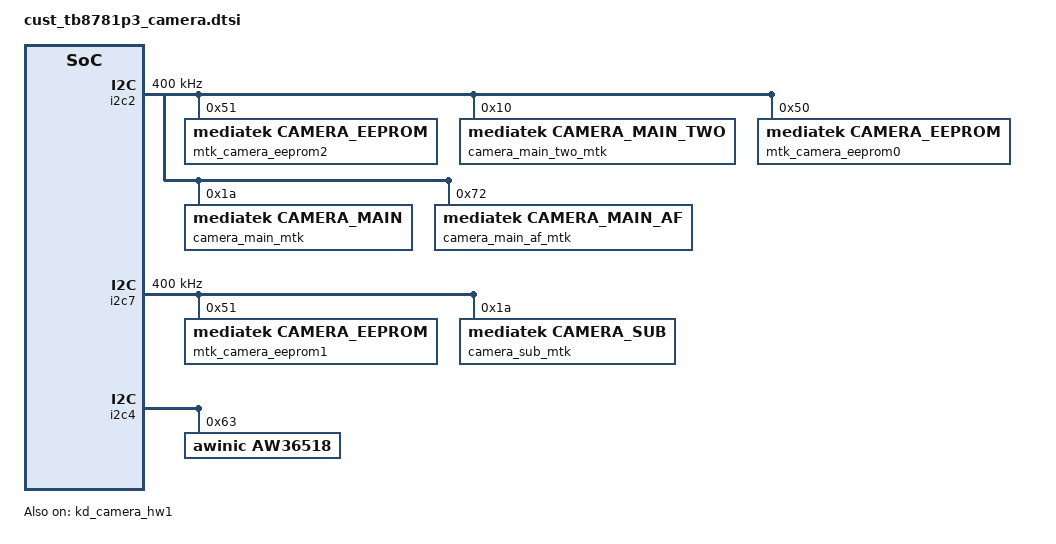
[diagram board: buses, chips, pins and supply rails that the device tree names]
// SPDX-License-Identifier: GPL-2.0
/* Copyright (c) 2022 MediaTek Inc. */
/* CAMERA GPIO standardization */
&pio {
	camera_pins_cam0_rst_0: cam0@0 {
		pins_cmd_dat {
			pinmux = <PINMUX_GPIO20__FUNC_GPIO20>;
			slew-rate = <1>;
			output-low;
		};
	};
	camera_pins_cam0_rst_1: cam0@1 {
		pins_cmd_dat {
			pinmux = <PINMUX_GPIO20__FUNC_GPIO20>;
			slew-rate = <1>;
			output-high;
		};
	};
	camera_pins_cam1_rst_0: cam1@0 {
		pins_cmd_dat {
			pinmux = <PINMUX_GPIO16__FUNC_GPIO16>;
			slew-rate = <1>;
			output-low;
		};
	};
	camera_pins_cam1_rst_1: cam1@1 {
		pins_cmd_dat {
			pinmux = <PINMUX_GPIO16__FUNC_GPIO16>;
			slew-rate = <1>;
			output-high;
		};
	};

	camera_pins_cam0_mclk_off: camera_pins_cam0_mclk_off {
		pins_cmd_dat {
			pinmux = <PINMUX_GPIO128__FUNC_GPIO128>;
			drive-strength = <1>;
		};
	};
	camera_pins_cam0_mclk_2ma: camera_pins_cam0_mclk_2ma {
		pins_cmd_dat {
			pinmux = <PINMUX_GPIO128__FUNC_CMMCLK2>;
			drive-strength = <0>;
		};
	};
	camera_pins_cam0_mclk_4ma: camera_pins_cam0_mclk_4ma {
		pins_cmd_dat {
			pinmux = <PINMUX_GPIO128__FUNC_CMMCLK2>;
			drive-strength = <1>;
		};
	};
	camera_pins_cam0_mclk_6ma: camera_pins_cam0_mclk_6ma {
		pins_cmd_dat {
			pinmux = <PINMUX_GPIO128__FUNC_CMMCLK2>;
			drive-strength = <2>;
		};
	};
	camera_pins_cam0_mclk_8ma: camera_pins_cam0_mclk_8ma {
		pins_cmd_dat {
			pinmux = <PINMUX_GPIO128__FUNC_CMMCLK2>;
			drive-strength = <3>;
		};
	};
	camera_pins_cam1_mclk_off: camera_pins_cam1_mclk_off {
		pins_cmd_dat {
			pinmux = <PINMUX_GPIO126__FUNC_GPIO126>;
			drive-strength = <1>;
		};
	};
	camera_pins_cam1_mclk_2ma: camera_pins_cam1_mclk_2ma {
		pins_cmd_dat {
			pinmux = <PINMUX_GPIO126__FUNC_CMMCLK0>;
			drive-strength = <0>;
		};
	};
	camera_pins_cam1_mclk_4ma: camera_pins_cam1_mclk_4ma {
		pins_cmd_dat {
			pinmux = <PINMUX_GPIO126__FUNC_CMMCLK0>;
			drive-strength = <1>;
		};
	};
	camera_pins_cam1_mclk_6ma: camera_pins_cam1_mclk_6ma {
		pins_cmd_dat {
			pinmux = <PINMUX_GPIO126__FUNC_CMMCLK0>;
			drive-strength = <2>;
		};
	};
	camera_pins_cam1_mclk_8ma: camera_pins_cam1_mclk_8ma {
		pins_cmd_dat {
			pinmux = <PINMUX_GPIO126__FUNC_CMMCLK0>;
			drive-strength = <3>;
		};
	};
	camera_pins_default: camdefault {
	};
};
&kd_camera_hw1 {
	pinctrl-names = "default",
			"cam0_rst0", "cam0_rst1",
			"cam1_rst0", "cam1_rst1",
			"cam0_mclk_off",
			"cam0_mclk_2mA", "cam0_mclk_4mA",
			"cam0_mclk_6mA", "cam0_mclk_8mA",
			"cam1_mclk_off",
			"cam1_mclk_2mA", "cam1_mclk_4mA",
			"cam1_mclk_6mA", "cam1_mclk_8mA";

	pinctrl-0 = <&camera_pins_default>;
	pinctrl-1 = <&camera_pins_cam0_rst_0>;
	pinctrl-2 = <&camera_pins_cam0_rst_1>;
	pinctrl-3 = <&camera_pins_cam1_rst_0>;
	pinctrl-4 = <&camera_pins_cam1_rst_1>;
	pinctrl-5 = <&camera_pins_cam0_mclk_off>;
	pinctrl-6 = <&camera_pins_cam0_mclk_2ma>;
	pinctrl-7 = <&camera_pins_cam0_mclk_4ma>;
	pinctrl-8 = <&camera_pins_cam0_mclk_6ma>;
	pinctrl-9 = <&camera_pins_cam0_mclk_8ma>;
	pinctrl-10 = <&camera_pins_cam1_mclk_off>;
	pinctrl-11 = <&camera_pins_cam1_mclk_2ma>;
	pinctrl-12 = <&camera_pins_cam1_mclk_4ma>;
	pinctrl-13 = <&camera_pins_cam1_mclk_6ma>;
	pinctrl-14 = <&camera_pins_cam1_mclk_8ma>;

	/* main (wide)*/
	cam0_vcamd-supply = <&fan53870_ldo1>;
	cam0_vcamaf-supply = <&fan53870_ldo3>;
	cam0_vcamio-supply = <&fan53870_ldo5>;
	cam0_vcama-supply = <&fan53870_ldo6>;

	/* front*/
	cam1_vcamd-supply = <&fan53870_ldo2>;
	cam1_vcama-supply = <&fan53870_ldo4>;
	cam1_vcamio-supply = <&fan53870_ldo5>;


	cam0_pin_mclk = "mclk";
	cam0_pin_rst = "gpio";
	cam0_pin_vcama = "regulator";
	cam0_pin_vcamio = "regulator";
	cam0_pin_vcamd = "regulator";
	cam0_pin_vcamaf = "regulator";
	cam1_pin_mclk = "mclk";
	cam1_pin_rst = "gpio";
	cam1_pin_vcama = "regulator";
	cam1_pin_vcamio = "regulator";
	cam1_pin_vcamd = "regulator";
	cam0_enable_sensor = "ov13b10main_mipi_raw";
	cam1_enable_sensor = "sc800cs_mipi_raw";
	status = "okay";
	mtk_custom_project = "tb8781p2_64";
};
/* CAMERA GPIO end */

/* CAMERA EEPROM */
&i2c2 {
	status = "okay";
	clock-frequency = <400000>;
	#address-cells = <1>;
	#size-cells = <0>;

	mtk_camera_eeprom2:camera_eeprom2@51 {
		compatible = "mediatek,camera_eeprom";
		reg = <0x51>;
		status = "okay";
	};
	camera_main_two_mtk:camera_main_two@10 {
		compatible = "mediatek,camera_main_two";
		#thermal-sensor-cells = <0>;
		reg = <0x10>;
		status = "okay";
	};
};
&i2c2 {
	status = "okay";
	clock-frequency = <400000>;
	#address-cells = <1>;
	#size-cells = <0>;

	mtk_camera_eeprom0:camera_eeprom0@50 {
		compatible = "mediatek,camera_eeprom";
		reg = <0x50>;
		status = "okay";
	};
	camera_main_mtk:camera_main@1a {
		compatible = "mediatek,camera_main";
		#thermal-sensor-cells = <0>;
		reg = <0x1a>;
		status = "okay";
	};
	camera_main_af_mtk:camera_main_af@72 {
		compatible = "mediatek,camera_main_af";
		reg = <0x72>;
		status = "okay";
	};
};
&i2c7 {
	status = "okay";
	clock-frequency = <400000>;
	#address-cells = <1>;
	#size-cells = <0>;

	mtk_camera_eeprom1:camera_eeprom1@51 {
		compatible = "mediatek,camera_eeprom";
		reg = <0x51>;
		status = "okay";
	};
	camera_sub_mtk:camera_sub@1a {
		compatible = "mediatek,camera_sub";
		#thermal-sensor-cells = <0>;
		reg = <0x1a>;
		status = "okay";
	};
};
/* CAMERA EEPROM end */

&i2c4{
	aw36518@63 {
	compatible = "awinic,aw36518";
	reg = <0x63>;
	status = "okay";
	};
};

/* CAMERA TZ config */
&thermal_zones {
	camera_main: camera_main {
		polling-delay = <1000>; /* milliseconds */
		polling-delay-passive = <0>; /* milliseconds */
		thermal-sensors = <&camera_main_mtk>;
	};
	camera_sub: camera_sub {
		polling-delay = <1000>; /* milliseconds */
		polling-delay-passive = <0>; /* milliseconds */
		thermal-sensors = <&camera_sub_mtk>;
	};
	camera_main_two: camera_main_two {
		polling-delay = <1000>; /* milliseconds */
		polling-delay-passive = <0>; /* milliseconds */
		thermal-sensors = <&camera_main_two_mtk>;
	};
};
/* CAMERA TZ config end */
